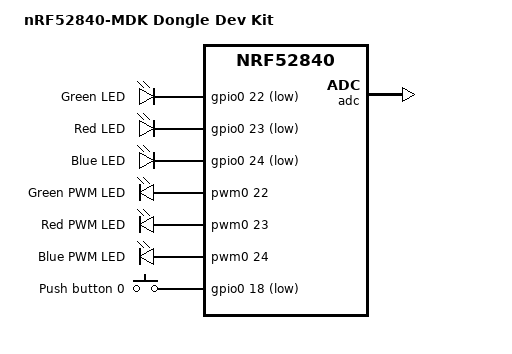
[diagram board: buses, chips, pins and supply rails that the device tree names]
/*
 * Copyright (c) 2020 The ZMK Contributors
 * SPDX-License-Identifier: MIT
 */

/dts-v1/;
#include <nordic/nrf52840_qiaa.dtsi>

/ {
	model = "nRF52840-MDK Dongle Dev Kit";
	compatible = "makerdiary,nrf52840_mdk_dongle";

	chosen {
		zephyr,code-partition = &code_partition;
		zephyr,sram = &sram0;
		zephyr,flash = &flash0;
	};

	leds {
		compatible = "gpio-leds";
		led_0: led_green {
			gpios = <&gpio0 22 GPIO_ACTIVE_LOW>;
			label = "Green LED";
			status = "okay";
		};
		led_1: led_red {
			gpios = <&gpio0 23 GPIO_ACTIVE_LOW>;
			label = "Red LED";
			status = "okay";
		};
		led_2: led_blue {
			gpios = <&gpio0 24 GPIO_ACTIVE_LOW>;
			label = "Blue LED";
			status = "okay";
		};
	};

	pwmleds {
		compatible = "pwm-leds";
		pwm_led_0: pwm_led_green {
			pwms = <&pwm0 22>;
			label = "Green PWM LED";
			status = "okay";
		};
		pwm_led_1: pwm_led_red {
			pwms = <&pwm0 23>;
			label = "Red PWM LED";
			status = "okay";
		};
		pwm_led_2: pwm_led_blue {
			pwms = <&pwm0 24>;
			label = "Blue PWM LED";
			status = "okay";
		};
	};

	buttons {
		compatible = "gpio-keys";
		button0: button0 {
			gpios = <&gpio0 18 (GPIO_PULL_UP | GPIO_ACTIVE_LOW)>;
			label = "Push button 0";
			status = "okay";
		};
	};

	/* These aliases are provided for compatibility with samples */
	aliases {
		ledgreen = &led_0;
		ledred   = &led_1;
		ledblue  = &led_2;
		pwmledgreen = &pwm_led_0;
		pwmledred = &pwm_led_1;
		pwmledblue = &pwm_led_2;
	};
};

&adc {
	status = "okay";
};

&gpiote {
	status = "okay";
};

&gpio0 {
	status = "okay";
};

&gpio1 {
	status = "okay";
};

&flash0 {
	/*
	 * For more information, see:
	 * http://docs.zephyrproject.org/latest/devices/dts/flash_partitions.html
	 */
	partitions {
		compatible = "fixed-partitions";
		#address-cells = <1>;
		#size-cells = <1>;

		sd_partition: partition@0 {
			label = "mbr";
			reg = <0x00000000 0x00001000>;
		};
		code_partition: partition@1000 {
			label = "code_partition";
			reg = <0x00001000 0x000d3000>;
		};

		/*
		 * The flash starting at 0x000d4000 and ending at
		 * 0x000f3fff is reserved for use by the application.
		 */

		/*
		 * Storage partition will be used by FCB/LittleFS/NVS
		 * if enabled.
		 */
		storage_partition: partition@d4000 {
			label = "storage";
			reg = <0x000d4000 0x00020000>;
		};

		boot_partition: partition@f4000 {
			label = "adafruit_boot";
			reg = <0x000f4000 0x0000c000>;
		};
	};
};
